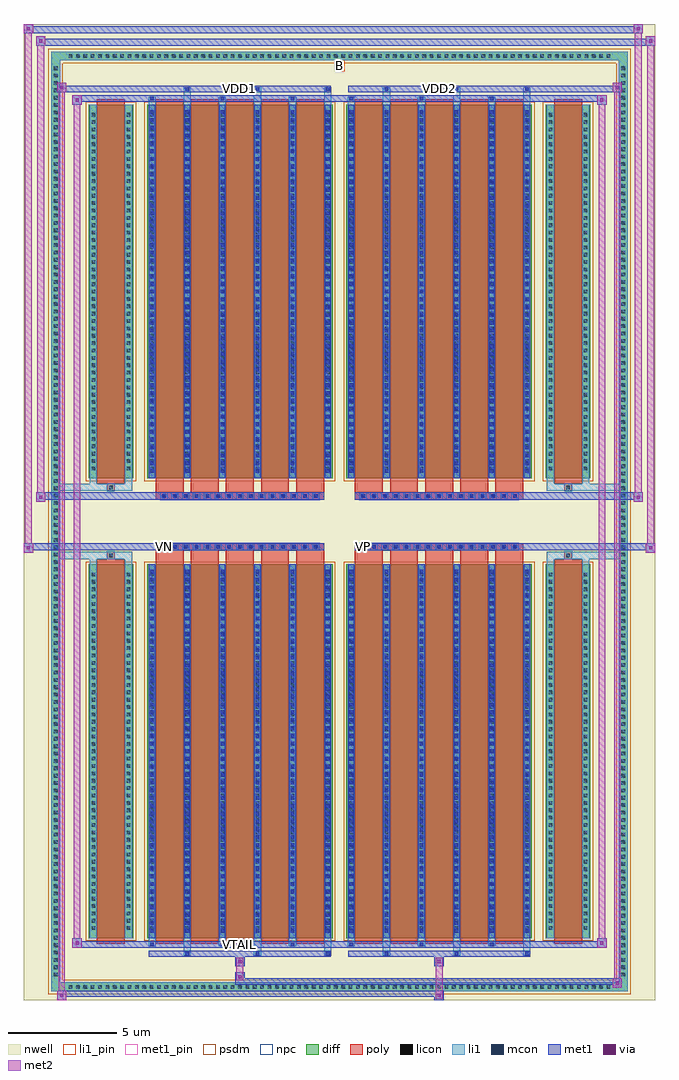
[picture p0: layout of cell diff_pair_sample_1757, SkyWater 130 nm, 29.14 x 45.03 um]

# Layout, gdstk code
import gdstk
lib = gdstk.Library(unit=1e-6, precision=5e-09)
def R(c, l, rs):  # rectangles x0, y0, x1, y1
    for r in rs: c.add(gdstk.rectangle(r[:2], r[2:], *l))
def A(c, l, x, y, w, h, nx, ny, dx, dy):  # array of equal rectangles
    R(c, l, [(x+i*dx, y+j*dy, x+i*dx+w, y+j*dy+h) for i in range(nx) for j in range(ny)])
def P(c, l, *ps):  # polygons
    for p in ps: c.add(gdstk.Polygon(p, *l))
nwell = (64, 20)
diff = (65, 20)
poly = (66, 20)
licon = (66, 44)
li1_pin = (67, 16)
li1 = (67, 20)
mcon = (67, 44)
met1_pin = (68, 16)
met1 = (68, 20)
via = (68, 44)
met2 = (69, 20)
psdm = (94, 20)
npc = (95, 20)

diff_pair_sample_1757 = lib.new_cell('diff_pair_sample_1757')
R(diff_pair_sample_1757, nwell, [(-14.57,-22.08,14.57,22.95), (-11.89,-20.27,-0.01,-0.805), (0.01,-20.27,11.89,-0.805), (-11.89,0.805,-0.01,20.27), (0.01,0.805,11.89,20.27)])
A(diff_pair_sample_1757, diff, -12.615, -21.68, 0.41, 0.41, 74, 2, 0.34, 42.95)
A(diff_pair_sample_1757, diff, -13.3, -21.115, 0.41, 0.41, 1, 124, 0, 0.34)
A(diff_pair_sample_1757, diff, 12.89, -21.115, 0.41, 0.41, 1, 124, 0, 0.34)
R(diff_pair_sample_1757, diff, [(-12.615,-21.68,12.615,-21.27), (-13.3,-21.115,-12.89,21.115), (12.89,-21.115,13.3,21.115), (-11.58,-19.225,-9.51,-1.985), (-8.87,-19.225,-0.32,-1.985), (0.32,-19.225,8.87,-1.985), (9.51,-19.225,11.58,-1.985), (-11.58,1.985,-9.51,19.225), (-8.87,1.985,-0.32,19.225), (0.32,1.985,8.87,19.225), (9.51,1.985,11.58,19.225), (-12.615,21.27,12.615,21.68)])
P(diff_pair_sample_1757, diff, [(13.3,21.68),(-13.3,21.68),(-13.3,-21.27),(-12.89,-21.27),(-12.89,21.27),(12.89,21.27),(12.89,-21.27),(-12.89,-21.27),(-13.3,-21.27),(-13.3,-21.68),(13.3,-21.68)])
A(diff_pair_sample_1757, poly, -8.48, -19.475, 1.29, 17.74, 5, 2, 1.62, 21.21)
A(diff_pair_sample_1757, poly, 0.71, -19.475, 1.29, 17.74, 5, 2, 1.62, 21.21)
A(diff_pair_sample_1757, poly, -8.48, -1.735, 1.29, 0.4, 5, 2, 1.62, 3.07)
A(diff_pair_sample_1757, poly, 0.71, -1.735, 1.29, 0.4, 5, 2, 1.62, 3.07)
A(diff_pair_sample_1757, poly, -8.26, -1.335, 0.33, 0.33, 15, 2, 0.5, 2.34)
A(diff_pair_sample_1757, poly, 0.93, -1.335, 0.33, 0.33, 15, 2, 0.5, 2.34)
R(diff_pair_sample_1757, poly, [(-11.19,-19.475,-9.9,-1.735), (9.9,-19.475,11.19,-1.735), (-10.71,-1.735,-10.38,-1.405), (-10.71,-1.735,-10.38,-1.405), (10.38,-1.735,10.71,-1.405), (10.38,-1.735,10.71,-1.405), (-8.48,-1.335,-0.71,-1.005), (0.71,-1.335,8.48,-1.005), (-8.48,1.005,-0.71,1.335), (0.71,1.005,8.48,1.335), (-10.71,1.405,-10.38,1.735), (-10.71,1.405,-10.38,1.735), (10.38,1.405,10.71,1.735), (10.38,1.405,10.71,1.735), (-11.19,1.735,-9.9,19.475), (9.9,1.735,11.19,19.475)])
A(diff_pair_sample_1757, licon, -12.495, -21.56, 0.17, 0.17, 74, 2, 0.34, 42.95)
A(diff_pair_sample_1757, licon, -13.18, -20.995, 0.17, 0.17, 1, 124, 0, 0.34)
A(diff_pair_sample_1757, licon, 13.01, -20.995, 0.17, 0.17, 1, 124, 0, 0.34)
A(diff_pair_sample_1757, licon, -11.44, -18.85, 0.17, 0.17, 1, 49, 0, 0.34)
A(diff_pair_sample_1757, licon, -9.82, -18.85, 0.17, 0.17, 1, 49, 0, 0.34)
A(diff_pair_sample_1757, licon, -8.73, -18.85, 0.17, 0.17, 6, 49, 1.62, 0.34)
A(diff_pair_sample_1757, licon, 0.46, -18.85, 0.17, 0.17, 6, 49, 1.62, 0.34)
A(diff_pair_sample_1757, licon, 9.65, -18.85, 0.17, 0.17, 1, 49, 0, 0.34)
A(diff_pair_sample_1757, licon, 11.27, -18.85, 0.17, 0.17, 1, 49, 0, 0.34)
A(diff_pair_sample_1757, licon, -8.18, -1.255, 0.17, 0.17, 15, 2, 0.5, 2.34)
A(diff_pair_sample_1757, licon, 1.01, -1.255, 0.17, 0.17, 15, 2, 0.5, 2.34)
A(diff_pair_sample_1757, licon, -11.44, 2.36, 0.17, 0.17, 1, 49, 0, 0.34)
A(diff_pair_sample_1757, licon, -9.82, 2.36, 0.17, 0.17, 1, 49, 0, 0.34)
A(diff_pair_sample_1757, licon, -8.73, 2.36, 0.17, 0.17, 6, 49, 1.62, 0.34)
A(diff_pair_sample_1757, licon, 0.46, 2.36, 0.17, 0.17, 6, 49, 1.62, 0.34)
A(diff_pair_sample_1757, licon, 9.65, 2.36, 0.17, 0.17, 1, 49, 0, 0.34)
A(diff_pair_sample_1757, licon, 11.27, 2.36, 0.17, 0.17, 1, 49, 0, 0.34)
R(diff_pair_sample_1757, licon, [(-10.63,-1.655,-10.46,-1.485), (10.46,-1.655,10.63,-1.485), (-10.63,1.485,-10.46,1.655), (10.46,1.485,10.63,1.655)])
R(diff_pair_sample_1757, li1_pin, [(-0.25,20.77,0.25,21.27)])
A(diff_pair_sample_1757, li1, -12.575, -21.64, 0.33, 0.33, 74, 2, 0.34, 42.95)
A(diff_pair_sample_1757, li1, -13.26, -21.075, 0.33, 0.33, 1, 124, 0, 0.34)
A(diff_pair_sample_1757, li1, 12.93, -21.075, 0.33, 0.33, 1, 124, 0, 0.34)
A(diff_pair_sample_1757, li1, -7.19, -20.03, 0.33, 0.805, 3, 2, 3.24, 39.255)
A(diff_pair_sample_1757, li1, -7.11, -20.03, 0.17, 0.17, 3, 2, 3.24, 39.89)
A(diff_pair_sample_1757, li1, 2, -20.03, 0.33, 0.805, 3, 2, 3.24, 39.255)
A(diff_pair_sample_1757, li1, 2.08, -20.03, 0.17, 0.17, 3, 2, 3.24, 39.89)
A(diff_pair_sample_1757, li1, -8.81, -19.6, 0.33, 0.375, 3, 2, 3.24, 38.825)
A(diff_pair_sample_1757, li1, -8.73, -19.6, 0.17, 0.17, 3, 2, 3.24, 39.03)
A(diff_pair_sample_1757, li1, 0.38, -19.6, 0.33, 0.375, 3, 2, 3.24, 38.825)
A(diff_pair_sample_1757, li1, 0.46, -19.6, 0.17, 0.17, 3, 2, 3.24, 39.03)
A(diff_pair_sample_1757, li1, -8.81, -19.225, 0.33, 17.24, 6, 2, 1.62, 21.21)
A(diff_pair_sample_1757, li1, 0.38, -19.225, 0.33, 17.24, 6, 2, 1.62, 21.21)
A(diff_pair_sample_1757, li1, -8.73, -18.97, 0.17, 0.17, 6, 47, 1.62, 0.36)
A(diff_pair_sample_1757, li1, -8.73, -18.97, 0.17, 16.73, 6, 2, 1.62, 21.21)
A(diff_pair_sample_1757, li1, 0.46, -18.97, 0.17, 0.17, 6, 47, 1.62, 0.36)
A(diff_pair_sample_1757, li1, 0.46, -18.97, 0.17, 16.73, 6, 2, 1.62, 21.21)
A(diff_pair_sample_1757, li1, -11.52, -18.93, 0.33, 0.33, 1, 49, 0, 0.34)
A(diff_pair_sample_1757, li1, -9.9, -18.93, 0.33, 0.33, 1, 49, 0, 0.34)
A(diff_pair_sample_1757, li1, -8.81, -18.93, 0.33, 0.33, 6, 49, 1.62, 0.34)
A(diff_pair_sample_1757, li1, 0.38, -18.93, 0.33, 0.33, 6, 49, 1.62, 0.34)
A(diff_pair_sample_1757, li1, 9.57, -18.93, 0.33, 0.33, 1, 49, 0, 0.34)
A(diff_pair_sample_1757, li1, 11.19, -18.93, 0.33, 0.33, 1, 49, 0, 0.34)
A(diff_pair_sample_1757, li1, -8.26, -1.335, 0.33, 0.33, 15, 2, 0.5, 2.34)
A(diff_pair_sample_1757, li1, 0.93, -1.335, 0.33, 0.33, 15, 2, 0.5, 2.34)
A(diff_pair_sample_1757, li1, -8.73, 2.24, 0.17, 0.17, 6, 47, 1.62, 0.36)
A(diff_pair_sample_1757, li1, 0.46, 2.24, 0.17, 0.17, 6, 47, 1.62, 0.36)
A(diff_pair_sample_1757, li1, -11.52, 2.28, 0.33, 0.33, 1, 49, 0, 0.34)
A(diff_pair_sample_1757, li1, -9.9, 2.28, 0.33, 0.33, 1, 49, 0, 0.34)
A(diff_pair_sample_1757, li1, -8.81, 2.28, 0.33, 0.33, 6, 49, 1.62, 0.34)
A(diff_pair_sample_1757, li1, 0.38, 2.28, 0.33, 0.33, 6, 49, 1.62, 0.34)
A(diff_pair_sample_1757, li1, 9.57, 2.28, 0.33, 0.33, 1, 49, 0, 0.34)
A(diff_pair_sample_1757, li1, 11.19, 2.28, 0.33, 0.33, 1, 49, 0, 0.34)
R(diff_pair_sample_1757, li1, [(-13.3,-21.68,-12.89,-21.27), (-13.3,-21.68,-12.89,-21.27), (-12.89,-21.68,12.89,-21.27), (12.89,-21.68,13.3,-21.27), (12.89,-21.68,13.3,-21.27), (-13.3,-21.27,-12.89,21.27), (12.89,-21.27,13.3,21.27), (-11.52,-19.225,-11.19,-1.985), (-9.9,-19.225,-9.57,-1.985), (9.57,-19.225,9.9,-1.985), (11.19,-19.225,11.52,-1.985), (-11.52,-1.985,-11.19,-1.405), (-9.9,-1.985,-9.57,-1.405), (9.57,-1.985,9.9,-1.405), (11.19,-1.985,11.52,-1.405), (-13.3,-1.735,-10.71,-1.405), (-11.52,-1.735,-10.71,-1.405), (-10.71,-1.735,-10.38,-1.405), (-10.38,-1.735,-9.57,-1.405), (9.57,-1.735,10.38,-1.405), (10.38,-1.735,10.71,-1.405), (10.38,-1.735,13.3,-1.405), (10.71,-1.735,11.52,-1.405), (-13.3,1.405,-10.71,1.735), (-11.52,1.405,-10.71,1.735), (-11.52,1.405,-11.19,1.985), (-10.71,1.405,-10.38,1.735), (-10.38,1.405,-9.57,1.735), (-9.9,1.405,-9.57,1.985), (9.57,1.405,10.38,1.735), (9.57,1.405,9.9,1.985), (10.38,1.405,10.71,1.735), (10.38,1.405,13.3,1.735), (10.71,1.405,11.52,1.735), (11.19,1.405,11.52,1.985), (-11.52,1.985,-11.19,19.225), (-9.9,1.985,-9.57,19.225), (9.57,1.985,9.9,19.225), (11.19,1.985,11.52,19.225), (-13.3,21.27,-12.89,21.68), (-13.3,21.27,-12.89,21.68), (-12.89,21.27,12.89,21.68), (12.89,21.27,13.3,21.68), (12.89,21.27,13.3,21.68)])
A(diff_pair_sample_1757, mcon, -7.11, -20.03, 0.17, 0.17, 3, 2, 3.24, 39.89)
A(diff_pair_sample_1757, mcon, 2.08, -20.03, 0.17, 0.17, 3, 2, 3.24, 39.89)
A(diff_pair_sample_1757, mcon, -8.73, -19.6, 0.17, 0.17, 3, 2, 3.24, 39.03)
A(diff_pair_sample_1757, mcon, 0.46, -19.6, 0.17, 0.17, 3, 2, 3.24, 39.03)
A(diff_pair_sample_1757, mcon, -8.73, -18.97, 0.17, 0.17, 6, 47, 1.62, 0.36)
A(diff_pair_sample_1757, mcon, 0.46, -18.97, 0.17, 0.17, 6, 47, 1.62, 0.36)
A(diff_pair_sample_1757, mcon, -8.18, -1.255, 0.17, 0.17, 15, 2, 0.5, 2.34)
A(diff_pair_sample_1757, mcon, 1.01, -1.255, 0.17, 0.17, 15, 2, 0.5, 2.34)
A(diff_pair_sample_1757, mcon, -8.73, 2.24, 0.17, 0.17, 6, 47, 1.62, 0.36)
A(diff_pair_sample_1757, mcon, 0.46, 2.24, 0.17, 0.17, 6, 47, 1.62, 0.36)
R(diff_pair_sample_1757, met1_pin, [(-4.73,-19.64,-4.46,-19.37), (-8.23,-1.295,-7.96,-1.025), (0.96,-1.295,1.23,-1.025), (-4.73,19.82,-4.46,20.09), (4.46,19.82,4.73,20.09)])
A(diff_pair_sample_1757, met1, -7.17, -20.09, 0.29, 0.29, 3, 2, 3.24, 39.89)
A(diff_pair_sample_1757, met1, 2.02, -20.09, 0.29, 0.29, 3, 2, 3.24, 39.89)
A(diff_pair_sample_1757, met1, -8.79, -19.66, 0.29, 0.29, 3, 2, 3.24, 39.03)
A(diff_pair_sample_1757, met1, 0.4, -19.66, 0.29, 0.29, 3, 2, 3.24, 39.03)
A(diff_pair_sample_1757, met1, -8.79, -19.225, 0.29, 17.24, 6, 2, 1.62, 21.21)
A(diff_pair_sample_1757, met1, 0.4, -19.225, 0.29, 17.24, 6, 2, 1.62, 21.21)
A(diff_pair_sample_1757, met1, -8.79, -19.03, 0.29, 0.29, 6, 47, 1.62, 0.36)
A(diff_pair_sample_1757, met1, 0.4, -19.03, 0.29, 0.29, 6, 47, 1.62, 0.36)
A(diff_pair_sample_1757, met1, -8.24, -1.315, 0.29, 0.29, 15, 2, 0.5, 2.34)
A(diff_pair_sample_1757, met1, 0.95, -1.315, 0.29, 0.29, 15, 2, 0.5, 2.34)
A(diff_pair_sample_1757, met1, -8.79, 2.18, 0.29, 0.29, 6, 47, 1.62, 0.36)
A(diff_pair_sample_1757, met1, 0.4, 2.18, 0.29, 0.29, 6, 47, 1.62, 0.36)
R(diff_pair_sample_1757, met1, [(-13.03,-22.08,-12.6,-21.65), (4.38,-22.08,4.81,-21.65), (-13.03,-21.94,4.81,-21.65), (12.6,-21.51,13.03,-21.08), (-4.81,-21.37,13.03,-21.08), (-4.81,-21.23,-4.38,-20.8), (-4.81,-20.52,-4.38,-20.09), (4.38,-20.52,4.81,-20.09), (-8.79,-20.09,-0.4,-19.8), (0.4,-20.09,8.79,-19.8), (-12.32,-19.66,-11.89,-19.23), (-12.32,-19.66,-8.79,-19.37), (-8.79,-19.66,-0.4,-19.37), (-0.4,-19.66,0.4,-19.37), (0.4,-19.66,8.79,-19.37), (8.79,-19.66,12.32,-19.37), (11.89,-19.66,12.32,-19.23), (-14.57,-1.435,-14.14,-1.005), (14.14,-1.435,14.57,-1.005), (-14.57,-1.335,-0.71,-1.005), (-8.48,-1.335,-0.71,-1.005), (0.71,-1.335,8.48,-1.005), (0.71,-1.335,14.57,-1.005), (-14,0.905,-13.57,1.335), (13.57,0.905,14,1.335), (-14,1.005,-8.48,1.335), (-8.48,1.005,-0.71,1.335), (0.71,1.005,8.48,1.335), (8.48,1.005,14,1.335), (-12.32,19.23,-11.89,19.66), (11.89,19.23,12.32,19.66), (-12.32,19.37,-8.79,19.66), (-8.79,19.37,-0.4,19.66), (-0.4,19.37,0.4,19.66), (0.4,19.37,8.79,19.66), (8.79,19.37,12.32,19.66), (-13.03,19.8,-12.6,20.23), (-13.03,19.8,-8.79,20.09), (-8.79,19.8,-0.4,20.09), (0.4,19.8,8.79,20.09), (8.79,19.8,13.03,20.09), (12.6,19.8,13.03,20.23), (-14,21.95,-13.57,22.38), (-14,21.95,-11.89,22.28), (-11.89,21.95,11.89,22.28), (11.89,21.95,14.57,22.28), (14.14,21.95,14.57,22.38), (-14.57,22.52,-14.14,22.95), (-14.57,22.52,-11.89,22.85), (-11.89,22.52,11.89,22.85), (11.89,22.52,14,22.85), (13.57,22.52,14,22.95)])
R(diff_pair_sample_1757, via, [(-12.89,-21.94,-12.74,-21.79), (4.52,-21.94,4.67,-21.79), (12.74,-21.37,12.89,-21.22), (-4.67,-21.09,-4.52,-20.94), (-4.67,-20.38,-4.52,-20.23), (4.52,-20.38,4.67,-20.23), (-12.18,-19.52,-12.03,-19.37), (12.03,-19.52,12.18,-19.37), (-14.43,-1.295,-14.28,-1.145), (14.28,-1.295,14.43,-1.145), (-13.86,1.045,-13.71,1.195), (13.71,1.045,13.86,1.195), (-12.18,19.37,-12.03,19.52), (12.03,19.37,12.18,19.52), (-12.89,19.94,-12.74,20.09), (12.74,19.94,12.89,20.09), (-13.86,22.09,-13.71,22.24), (14.28,22.09,14.43,22.24), (-14.43,22.66,-14.28,22.81), (13.71,22.66,13.86,22.81)])
R(diff_pair_sample_1757, met2, [(-13.03,-22.08,-12.6,-21.65), (-12.96,-22.08,-12.67,20.23), (-12.67,-22.08,-12.6,-21.65), (-12.98,-22.03,-12.65,-21.7), (4.43,-22.03,4.76,-21.7), (4.43,-21.7,4.76,-20.47), (12.6,-21.51,13.03,-21.08), (12.67,-21.51,12.96,20.23), (12.96,-21.51,13.03,-21.08), (12.65,-21.46,12.98,-21.13), (-4.76,-21.18,-4.43,-20.85), (-4.76,-20.85,-4.43,-20.47), (-4.76,-20.47,-4.43,-20.14), (4.43,-20.47,4.76,-20.14), (-12.32,-19.66,-11.89,-19.23), (-12.25,-19.66,-11.96,19.66), (-11.96,-19.66,-11.89,-19.23), (11.89,-19.66,12.32,-19.23), (11.96,-19.66,12.25,19.66), (12.25,-19.66,12.32,-19.23), (-12.27,-19.61,-11.94,-19.28), (11.94,-19.61,12.27,-19.28), (-14.57,-1.435,-14.14,-1.005), (-14.52,-1.435,-14.19,22.95), (-14.19,-1.435,-14.14,-1.005), (14.14,-1.435,14.57,-1.005), (14.19,-1.435,14.52,22.38), (14.52,-1.435,14.57,-1.005), (-14.52,-1.385,-14.19,-1.055), (14.19,-1.385,14.52,-1.055), (-14,0.905,-13.57,1.335), (-13.95,0.905,-13.62,22.38), (-13.62,0.905,-13.57,1.335), (13.57,0.905,14,1.335), (13.62,0.905,13.95,22.95), (13.95,0.905,14,1.335), (-13.95,0.955,-13.62,1.285), (13.62,0.955,13.95,1.285), (-12.32,19.23,-11.89,19.66), (-11.96,19.23,-11.89,19.66), (11.89,19.23,12.32,19.66), (12.25,19.23,12.32,19.66), (-12.27,19.28,-11.94,19.61), (11.94,19.28,12.27,19.61), (-13.03,19.8,-12.6,20.23), (-12.67,19.8,-12.6,20.23), (12.6,19.8,13.03,20.23), (12.96,19.8,13.03,20.23), (-12.98,19.85,-12.65,20.18), (12.65,19.85,12.98,20.18), (-14,21.95,-13.57,22.38), (-13.62,21.95,-13.57,22.38), (14.14,21.95,14.57,22.38), (14.52,21.95,14.57,22.38), (-13.95,22,-13.62,22.33), (14.19,22,14.52,22.33), (-14.57,22.52,-14.14,22.95), (-14.19,22.52,-14.14,22.95), (13.57,22.52,14,22.95), (13.95,22.52,14,22.95), (-14.52,22.57,-14.19,22.9), (13.62,22.57,13.95,22.9)])
R(diff_pair_sample_1757, psdm, [(-11.71,-19.355,-9.38,-1.855), (-9,-19.355,-0.19,-1.855), (0.19,-19.355,9,-1.855), (9.38,-19.355,11.71,-1.855), (-11.71,1.855,-9.38,19.355), (-9,1.855,-0.19,19.355), (0.19,1.855,9,19.355), (9.38,1.855,11.71,19.355)])
P(diff_pair_sample_1757, psdm, [(13.43,21.81),(-13.43,21.81),(-13.43,-21.14),(-12.76,-21.14),(-12.76,21.14),(12.76,21.14),(12.76,-21.14),(-12.76,-21.14),(-13.43,-21.14),(-13.43,-21.81),(13.43,-21.81)])
A(diff_pair_sample_1757, npc, -8.28, -1.355, 0.37, 0.37, 15, 2, 0.5, 2.34)
A(diff_pair_sample_1757, npc, 0.91, -1.355, 0.37, 0.37, 15, 2, 0.5, 2.34)
R(diff_pair_sample_1757, npc, [(-10.73,-1.755,-10.36,-1.385), (10.36,-1.755,10.73,-1.385), (-8.28,-1.355,-7.41,-0.985), (-8.28,-1.355,-7.41,-0.985), (-7.78,-1.355,-6.91,-0.985), (-7.78,-1.355,-6.91,-0.985), (-7.28,-1.355,-6.41,-0.985), (-7.28,-1.355,-6.41,-0.985), (-6.78,-1.355,-5.91,-0.985), (-6.78,-1.355,-5.91,-0.985), (-6.28,-1.355,-5.41,-0.985), (-6.28,-1.355,-5.41,-0.985), (-5.78,-1.355,-4.91,-0.985), (-5.78,-1.355,-4.91,-0.985), (-5.28,-1.355,-4.41,-0.985), (-5.28,-1.355,-4.41,-0.985), (-4.78,-1.355,-3.91,-0.985), (-4.78,-1.355,-3.91,-0.985), (-4.28,-1.355,-3.41,-0.985), (-4.28,-1.355,-3.41,-0.985), (-3.78,-1.355,-2.91,-0.985), (-3.78,-1.355,-2.91,-0.985), (-3.28,-1.355,-2.41,-0.985), (-3.28,-1.355,-2.41,-0.985), (-2.78,-1.355,-1.91,-0.985), (-2.78,-1.355,-1.91,-0.985), (-2.28,-1.355,-1.41,-0.985), (-2.28,-1.355,-1.41,-0.985), (-1.78,-1.355,-0.91,-0.985), (-1.78,-1.355,-0.91,-0.985), (0.91,-1.355,1.78,-0.985), (0.91,-1.355,1.78,-0.985), (1.41,-1.355,2.28,-0.985), (1.41,-1.355,2.28,-0.985), (1.91,-1.355,2.78,-0.985), (1.91,-1.355,2.78,-0.985), (2.41,-1.355,3.28,-0.985), (2.41,-1.355,3.28,-0.985), (2.91,-1.355,3.78,-0.985), (2.91,-1.355,3.78,-0.985), (3.41,-1.355,4.28,-0.985), (3.41,-1.355,4.28,-0.985), (3.91,-1.355,4.78,-0.985), (3.91,-1.355,4.78,-0.985), (4.41,-1.355,5.28,-0.985), (4.41,-1.355,5.28,-0.985), (4.91,-1.355,5.78,-0.985), (4.91,-1.355,5.78,-0.985), (5.41,-1.355,6.28,-0.985), (5.41,-1.355,6.28,-0.985), (5.91,-1.355,6.78,-0.985), (5.91,-1.355,6.78,-0.985), (6.41,-1.355,7.28,-0.985), (6.41,-1.355,7.28,-0.985), (6.91,-1.355,7.78,-0.985), (6.91,-1.355,7.78,-0.985), (7.41,-1.355,8.28,-0.985), (7.41,-1.355,8.28,-0.985), (-8.28,0.985,-7.41,1.355), (-8.28,0.985,-7.41,1.355), (-7.78,0.985,-6.91,1.355), (-7.78,0.985,-6.91,1.355), (-7.28,0.985,-6.41,1.355), (-7.28,0.985,-6.41,1.355), (-6.78,0.985,-5.91,1.355), (-6.78,0.985,-5.91,1.355), (-6.28,0.985,-5.41,1.355), (-6.28,0.985,-5.41,1.355), (-5.78,0.985,-4.91,1.355), (-5.78,0.985,-4.91,1.355), (-5.28,0.985,-4.41,1.355), (-5.28,0.985,-4.41,1.355), (-4.78,0.985,-3.91,1.355), (-4.78,0.985,-3.91,1.355), (-4.28,0.985,-3.41,1.355), (-4.28,0.985,-3.41,1.355), (-3.78,0.985,-2.91,1.355), (-3.78,0.985,-2.91,1.355), (-3.28,0.985,-2.41,1.355), (-3.28,0.985,-2.41,1.355), (-2.78,0.985,-1.91,1.355), (-2.78,0.985,-1.91,1.355), (-2.28,0.985,-1.41,1.355), (-2.28,0.985,-1.41,1.355), (-1.78,0.985,-0.91,1.355), (-1.78,0.985,-0.91,1.355), (0.91,0.985,1.78,1.355), (0.91,0.985,1.78,1.355), (1.41,0.985,2.28,1.355), (1.41,0.985,2.28,1.355), (1.91,0.985,2.78,1.355), (1.91,0.985,2.78,1.355), (2.41,0.985,3.28,1.355), (2.41,0.985,3.28,1.355), (2.91,0.985,3.78,1.355), (2.91,0.985,3.78,1.355), (3.41,0.985,4.28,1.355), (3.41,0.985,4.28,1.355), (3.91,0.985,4.78,1.355), (3.91,0.985,4.78,1.355), (4.41,0.985,5.28,1.355), (4.41,0.985,5.28,1.355), (4.91,0.985,5.78,1.355), (4.91,0.985,5.78,1.355), (5.41,0.985,6.28,1.355), (5.41,0.985,6.28,1.355), (5.91,0.985,6.78,1.355), (5.91,0.985,6.78,1.355), (6.41,0.985,7.28,1.355), (6.41,0.985,7.28,1.355), (6.91,0.985,7.78,1.355), (6.91,0.985,7.78,1.355), (7.41,0.985,8.28,1.355), (7.41,0.985,8.28,1.355), (-10.73,1.385,-10.36,1.755), (10.36,1.385,10.73,1.755)])
diff_pair_sample_1757.add(gdstk.Label('VTAIL', (-4.595,-19.505), layer=68, texttype=5))
diff_pair_sample_1757.add(gdstk.Label('VN', (-8.095,-1.16), layer=68, texttype=5))
diff_pair_sample_1757.add(gdstk.Label('VP', (1.095,-1.16), layer=68, texttype=5))
diff_pair_sample_1757.add(gdstk.Label('B', (0,21.02), layer=67, texttype=5))
diff_pair_sample_1757.add(gdstk.Label('VDD2', (4.595,19.955), layer=68, texttype=5))
diff_pair_sample_1757.add(gdstk.Label('VDD1', (-4.595,19.955), layer=68, texttype=5))

lib.write_gds('diff_pair_sample_1757.gds')
